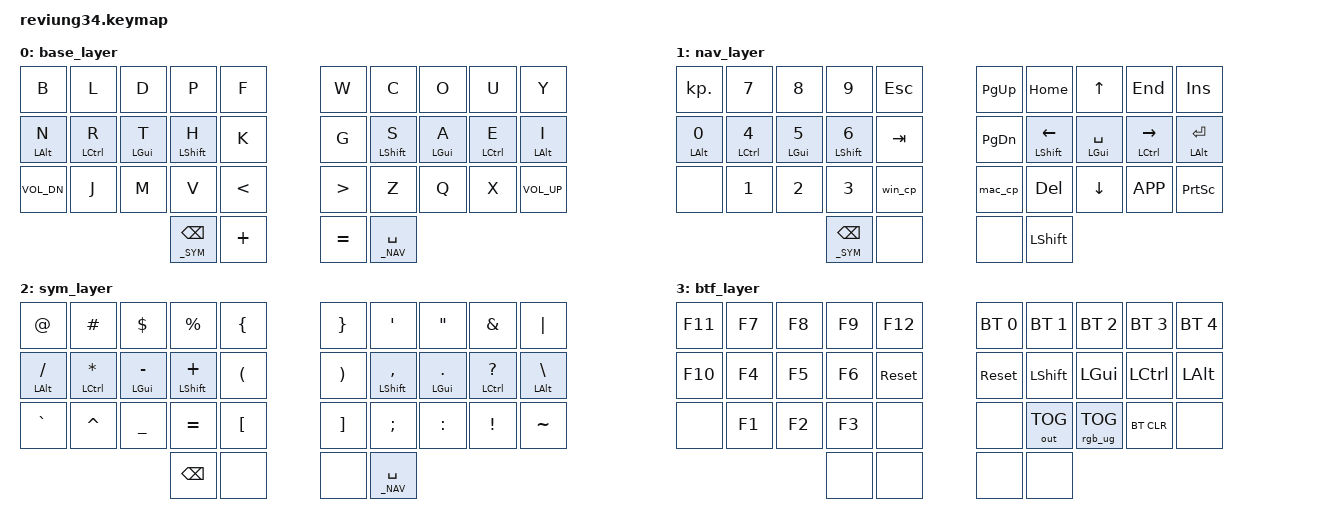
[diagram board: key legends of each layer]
/*
 * Copyright (c) 2021 The ZMK Contributors
 *
 * SPDX-License-Identifier: MIT
 */

#include <behaviors.dtsi>
#include <dt-bindings/zmk/keys.h>
#include <dt-bindings/zmk/bt.h>
#include <dt-bindings/zmk/rgb.h>
#include <dt-bindings/zmk/outputs.h>
#include "keypos_34keys.h"

#define _BASE    0
#define _NAV     1
#define _SYM     2
#define _BTF     3

#define RGB_BASE RGB_COLOR_HSB(250,20,3)
#define RGB_SYM RGB_COLOR_HSB(20,100,4)
#define RGB_NAV RGB_COLOR_HSB(120,80,3)
#define RGB_BTF RGB_COLOR_HSB(230,100,4)

&sk {
    quick-release;
};

&sl {
    release-after-ms = <300>;
};

&num_word {
    layers = <_SYM>;  // replace NUM by the location of numbers layer
};

/ {
// ------------------------- MACROS --------------------------------
    macros {
        to_BASE: to_BASE {
            label = "ZM_to_BASE";
            compatible = "zmk,behavior-macro";
            #binding-cells = <0>;
            wait-ms = <0>;
            tap-ms = <0>;
            bindings
                = <&rgb_ug RGB_BASE>
                , <&tog _NAV>
                ;
        };

        // mo_SYM: mo_SYM {
        //     label = "ZM_mo_SYM";
        //     compatible = "zmk,behavior-macro";
        //     #binding-cells = <0>;
        //     wait-ms = <0>;
        //     tap-ms = <0>;
        //     bindings
        //         = <&macro_tap &rgb_ug RGB_SYM>
        //         , <&macro_press &mo _SYM>
        //         , <&macro_pause_for_release>
        //         , <&macro_tap &rgb_ug RGB_BASE>
        //         , <&macro_release &mo _SYM>
        //         ;
        // };

        // to_SYM: to_SYM {
        //     label = "ZM_to_SYM";
        //     compatible = "zmk,behavior-macro";
        //     #binding-cells = <0>;
        //     wait-ms = <0>;
        //     tap-ms = <0>;
        //     bindings
        //         = <&rgb_ug RGB_SYM>
        //         , <&to _SYM>
        //         ;
        // };

        to_NAV: to_NAV {
            label = "ZM_to_NAV";
            compatible = "zmk,behavior-macro";
            #binding-cells = <0>;
            wait-ms = <0>;
            tap-ms = <0>;
            bindings
                = <&rgb_ug RGB_NAV>
                , <&tog _NAV>
                ;
        };

        // mo_NAV: mo_NAV {
        //     label = "ZM_mo_NAV";
        //     compatible = "zmk,behavior-macro";
        //     #binding-cells = <0>;
        //     wait-ms = <0>;
        //     tap-ms = <0>;
        //     bindings
        //         = <&macro_tap &rgb_ug RGB_NAV>
        //         , <&macro_press &mo _NAV>
        //         , <&macro_pause_for_release>
        //         , <&macro_tap &rgb_ug RGB_BASE>
        //         , <&macro_release &mo _NAV>
        //         ;
        // };

        mo_BTF: mo_BTF {
            label = "ZM_mo_BTF";
            compatible = "zmk,behavior-macro";
            #binding-cells = <0>;
            wait-ms = <0>;
            tap-ms = <0>;
            bindings
                = <&macro_tap &rgb_ug RGB_BTF>
                , <&macro_press &mo _BTF>
                , <&macro_pause_for_release>
                , <&macro_tap &rgb_ug RGB_BASE>
                , <&macro_release &mo _BTF>
                ;
        };

        to_BOOT: to_BOOT {
            label = "ZM_to_BOOT";
            compatible = "zmk,behavior-macro";
            #binding-cells = <0>;
            bindings
                = <&rgb_ug RGB_COLOR_HSB(0,100,50)>
                , <&rgb_ug RGB_ON>
                , <&bootloader>
                ;
        };
    };

    combos {
        compatible = "zmk,combos";
// ------------------------- LAYER COMBOS --------------------------------
        combo_BOOT {
            timeout-ms = <50>;
            key-positions = <LMC RMC>;
            bindings = <&to_BOOT>;
            layers = <_BTF>;
        };

        combo_BTF {
            timeout-ms = <50>;
            key-positions = <LHO RHO>;
            bindings = <&mo_BTF>;
        };

        combo_NAVR {
            timeout-ms = <50>;
            key-positions = <RMI RMM RMR>;
            bindings = <&to_NAV>;
            layers = <_BASE>;
        };

        combo_BASER {
            timeout-ms = <50>;
            key-positions = <RMI RMM RMR>;
            bindings = <&to_BASE>;
            layers = <_NAV>;
        };

        combo_NAVL {
            timeout-ms = <50>;
            key-positions = <LMI LMM LMR>;
            bindings = <&to_NAV>;
            layers = <_BASE>;
        };

        combo_BASEL {
            timeout-ms = <50>;
            key-positions = <LMI LMM LMR>;
            bindings = <&to_BASE>;
            layers = <_NAV>;
        };

// ------------------------- MODS COMBOS --------------------------------
        combo_CAPS {
            timeout-ms = <50>;
            key-positions = <LMI RMI>;
            bindings = <&caps_word>;
            require-prior-idle-ms = <200>;
            layers = <_BASE>;
        };

        // combo_RALTL {
        //     timeout-ms = <40>;
        //     key-positions = <LMP LTP>;
        //     bindings = <&kp RALT>;
        //     //layers = <_BASE>;
        // };

        // combo_RALTR {
        //     timeout-ms = <40>;
        //     key-positions = <LMP RTP>;
        //     bindings = <&kp RALT>;
        //     //layers = <_BASE>;
        // };

// ------------------------- CHARACTER COMBOS --------------------------------
        combo_MUTE {
            timeout-ms = <40>;
            key-positions = <RMI RMR>;
            bindings = <&kp C_MUTE>;
            // layers = <_BASE _SYM>;
        };

        // combo_LPAR {
        //     timeout-ms = <40>;
        //     key-positions = <LMM LMI>;
        //     bindings = <&kp LPAR>;
        //     layers = <_BASE _SYM>;
        // };

        // combo_RPAR {
        //     timeout-ms = <40>;
        //     key-positions = <RMI RMM>;
        //     bindings = <&kp RPAR>;
        //     layers = <_BASE _SYM>;
        // };

        // combo_LBRC {
        //     timeout-ms = <40>;
        //     key-positions = <LTM LTI>;
        //     bindings = <&kp LBRC>;
        //     layers = <_BASE _SYM>;
        // };

        // combo_RBRC {
        //     timeout-ms = <40>;
        //     key-positions = <RTI RTM>;
        //     bindings = <&kp RBRC>;
        //     layers = <_BASE _SYM>;
        // };

        // combo_LBKT {
        //     timeout-ms = <40>;
        //     key-positions = <LBM LBI>;
        //     bindings = <&kp LBKT>;
        //     layers = <_BASE _SYM>;
        // };

        // combo_RBKT {
        //     timeout-ms = <40>;
        //     key-positions = <RBI RBM>;
        //     bindings = <&kp RBKT>;
        //     layers = <_BASE _SYM>;
        // };

        // combo_GT {
        //     timeout-ms = <45>;
        //     key-positions = <RBM RBR>;
        //     bindings = <&kp GT>;
        //     layers = <_BASE _SYM>;
        // };

        // combo_LT {
        //     timeout-ms = <45>;
        //     key-positions = <LBM LBR>;
        //     bindings = <&kp LT>;
        //     layers = <_BASE _SYM>;
        // };

        // combo_FSLH {
        //     timeout-ms = <45>;
        //     key-positions = <RMM RMR>;
        //     bindings = <&kp FSLH>;
        //     layers = <_BASE _SYM>;
        // };

        // combo_BSLH {
        //     timeout-ms = <45>;
        //     key-positions = <LMR LMM>;
        //     bindings = <&kp BSLH>;
        //     layers = <_BASE _SYM>;
        // };
    };

    behaviors {
// ------------------------- TAP-DANCES --------------------------------
        win_cp: win_cp {
            compatible = "zmk,behavior-tap-dance";
            label = "CTRL_COPY_PASTA";
            #binding-cells = <0>;
            tapping-term-ms = <400>;
            bindings = <&kp LC(C)>, <&kp LC(V)>;
        };

        mac_cp: mac_cp {
            compatible = "zmk,behavior-tap-dance";
            label = "GUI_COPY_PASTA";
            #binding-cells = <0>;
            tapping-term-ms = <400>;
            bindings = <&kp LG(C)>, <&kp LG(V)>;
        };

// ------------------------- HOLD-TAPS --------------------------------
        /* left-hand HRMs */
        hml: hrm_left {
            compatible = "zmk,behavior-hold-tap";
            label = "LEFT_HRM";
            #binding-cells = <2>;
            flavor = "tap-preferred";
            tapping-term-ms = <300>;
            quick-tap-ms = <170>;                // repeat on tap-into-hold
            require-prior-idle-ms = <120>;
            bindings = <&kp>, <&kp>;
            hold-trigger-key-positions = <KEYS_R THUMBS>;
            hold-trigger-on-release;             // delay positional check until key-release
        };

        /* right-hand HRMs */
        hmr: hrm_right {
            compatible = "zmk,behavior-hold-tap";
            label = "RIGHT_HRM";
            #binding-cells = <2>;
            flavor = "tap-preferred";
            tapping-term-ms = <300>;
            quick-tap-ms = <170>;                // repeat on tap-into-hold
            require-prior-idle-ms = <120>;
            bindings = <&kp>, <&kp>;
            hold-trigger-key-positions = <KEYS_L THUMBS>;
            hold-trigger-on-release;             // delay positional check until key-release
        };

        hsl: hrs_left {
            compatible = "zmk,behavior-hold-tap";
            label = "LEFT_SHIFT";
            #binding-cells = <2>;
            flavor = "balanced";
            tapping-term-ms = <300>;
            quick-tap-ms = <170>;                // repeat on tap-into-hold
            require-prior-idle-ms = <120>;
            bindings = <&kp>, <&kp>;
            hold-trigger-key-positions = <KEYS_R THUMBS>;
            hold-trigger-on-release;             // delay positional check until key-release
        };

        hsr: hrs_right {
            compatible = "zmk,behavior-hold-tap";
            label = "RIGHT_SHIFT";
            #binding-cells = <2>;
            flavor = "balanced";
            tapping-term-ms = <300>;
            quick-tap-ms = <170>;                // repeat on tap-into-hold
            require-prior-idle-ms = <120>;
            bindings = <&kp>, <&kp>;
            hold-trigger-key-positions = <KEYS_L THUMBS>;
            hold-trigger-on-release;             // delay positional check until key-release
        };

        bst: backspace-tap {
            compatible = "zmk,behavior-hold-tap";
            label = "BSPC_TAP_SYM_HOLD";
            #binding-cells = <2>;
            flavor = "balanced";
            tapping-term-ms = <200>;
            quick-tap-ms = <170>;
            //require-prior-idle-ms = <100>;
            bindings = <&mo>, <&kp>;
        };

        spt: space-tap {
            compatible = "zmk,behavior-hold-tap";
            label = "SPC_TAP_NAV_HOLD";
            #binding-cells = <2>;
            flavor = "balanced";
            tapping-term-ms = <200>;
            quick-tap-ms = <170>;
            //require-prior-idle-ms = <100>;
            bindings = <&mo>, <&kp>;
        };
    };

    keymap {
        compatible = "zmk,keymap";

                base_layer {
// -------------------------------    -------------------------------
// |  B  |  L  |  D  |  P  |  F  |    |  W  |  C  |  O  |  U  |  Y  |
// |  N  |  R  |  T  |  H  |  K  |    |  G  |  S  |  A  |  E  |  I  |
// |  V- |  J  |  M  |  V  |  <  |    |  >  |  Z  |  Q  |  X  |  V+ |
//            | _SYM(BSPC) |  +  |    |  =  | _NAV(SPC) |
                        bindings = <
   &kp B        &kp L        &kp D       &kp P        &kp F       &kp W  &kp C        &kp O       &kp U        &kp Y
   &hml LALT N  &hml LCTRL R &hml LGUI T &hsl LSHFT H &kp K       &kp G  &hsr LSHFT S &hmr LGUI A &hmr LCTRL E &hmr LALT I
   &kp C_VOL_DN &kp J        &kp M       &kp V        &kp LT      &kp GT &kp Z        &kp Q       &kp X        &kp C_VOL_UP
                                   &bst _SYM BSPC  &kp PLUS       &kp EQUAL  &spt _NAV SPACE
                        >;
                };

                nav_layer {
// --------------------------------    -----------------------------------
// | . , |  7  |  8  |  9  | ESC  |    | PGUP | HOME |  UP  | END  | INS |
// |  0  |  4  |  5  |  6  | TAB  |    | PGDN | LEFT | SPC  | RGHT | RET |
// |     |  1  |  2  |  3  | wC&P |    | mC&P | DEL  | DOWN | APP | PSCR |
//            | _SYM(BSPC) |      |    |      | SHFT |
                        bindings = <
   &kp KP_DOT   &kp N7        &kp N8       &kp N9        &kp ESC         &kp PG_UP  &kp HOME        &kp UP          &kp END          &kp INS
   &hml LALT N0 &hml LCTRL N4 &hml LGUI N5 &hsl LSHFT N6 &kp TAB         &kp PG_DN  &hsr LSHFT LEFT &hmr LGUI SPACE &hmr LCTRL RIGHT &hmr LALT RET
   &none        &kp N1        &kp N2       &kp N3        &win_cp         &mac_cp    &kp DEL         &kp DOWN        &kp K_APP        &kp PSCRN
                                          &bst _SYM BSPC &none           &none  &kp LSHFT
                        >;
                };
                
                sym_layer {
// -------------------------------    -------------------------------
// |  @  |  #  |  $  |  %  |  {  |    |  }  |  '  |  "  |  &  |  |  |
// |  /  |  *  |  -  |  +  |  (  |    |  )  |  ,  |  .  |  ?  |  \  |
// |  `  |  ^  |  _  |  =  |  [  |    |  ]  |  ;  |  :  |  !  |  ~  |
//                  | BSPC |     |    |     | _NAV(SPC) |
                        bindings = <
   &kp AT          &kp HASH        &kp DLLR        &kp PRCNT       &kp LBRC      &kp RBRC &kp SQT          &kp DQT       &kp AMPS         &kp PIPE
   &hml LALT SLASH &hml LCTRL STAR &hml LGUI MINUS &hsl LSHFT PLUS &kp LPAR      &kp RPAR &hsr LSHFT COMMA &hmr LGUI DOT &hmr LCTRL QMARK &hmr LALT BSLH
   &kp GRAVE       &kp CARET       &kp UNDER       &kp EQUAL       &kp LBKT      &kp RBKT &kp SEMI         &kp COLON     &kp EXCL         &kp TILDE
                                                         &kp BSPC  &none         &none   &spt _NAV SPACE
                        >;
                };
                
                btf_layer {
// ----------------------------    ---------------------------------
// | F11 | F7 | F8 | F9 | F12 |    | BT1 | BT2  | BT3 | BT4  | BT5 |
// | F10 | F4 | F5 | F6 | RST |    | RST | SHFT | GUI | CTRL | ALT |
// |     | F1 | F2 | F3 |     |    |     | USB  | RGB | BT-  |     |
//                |     |     |    |     |     |
                        bindings = <
   &kp F11 &kp F7 &kp F8 &kp F9 &kp F12       &bt BT_SEL 0 &bt BT_SEL 1 &bt BT_SEL 2    &bt BT_SEL 3 &bt BT_SEL 4
   &kp F10 &kp F4 &kp F5 &kp F6 &sys_reset    &sys_reset   &kp LSHFT    &kp LGUI        &kp LCTRL    &kp LALT
   &none   &kp F1 &kp F2 &kp F3 &none         &none        &out OUT_TOG &rgb_ug RGB_TOG &bt BT_CLR   &none
                          &none &none         &none &none
                        >;
                };                
    };
};
